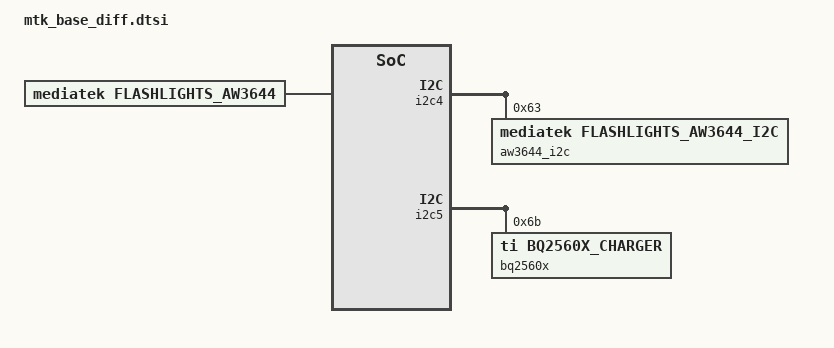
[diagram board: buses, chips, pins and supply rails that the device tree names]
/*
 * when you want to delete some nodes or property, modify this dtsi.
 * some diff between mtk and zte pluto.
 */

#include "../bat_setting/battery_protect_policy_080500100328.dtsi"

/{
	/*add for Z5157V flash chip node*/
	flashlights_aw3644: flashlights_aw3644 {
		compatible = "mediatek,flashlights_aw3644";
	};
	flashlights_dummy_gpio: flashlights_dummy_gpio {
		compatible = "mediatek,flashlights_dummy_gpio";
	};

	zte_misc: zte_misc {
		status="okay";
		compatible = "zte-misc";
	};

	/*fingerprint nav*/
	zte_fp_nav: zte_fp_nav {
		status="okay";
		compatible = "zte_fp_nav";
	};

	egistec_fp: fingerprint_egistec {
		compatible = "egis,egistec_pd";
	};
};

&charger_policy_service {
	policy,demo-max-capacity = <35>;
	policy,demo-min-capacity = <30>;
};


&i2c4 {
	aw3644_i2c: aw3644_i2c@63 {
		compatible = "mediatek,flashlights_aw3644_i2c";
		status = "okay";
		reg = <0x63>;
	};
};

&i2c5 {
	bq2560x: bq2560x@6b {
		compatible = "ti,bq2560x_charger";
		status = "okay";
		reg = <0x6b>;

		charger_name = "primary_chg";
		alias_name = "bq2560x";
	};
};

&lk_charger {
	/delete-property/ enable_pe_plus;
	/delete-property/ enable_anime;
};

&charger {
	/delete-property/ enable_pe_plus;
	/delete-property/ enable_pe_2;
	/delete-property/ enable_pe_3;
	/delete-property/ enable_pe_4;
	/delete-property/ enable_type_c;
};

/ {
	/delete-node/ mt6370_pmu_dts;
};

/ {
	/delete-node/ type_c_port0;
};

&i2c3 {
	/delete-node/ rt9465@4b;
};

/* chosen */
&chosen {
	bootargs = "console=tty0 console=ttyS0,921600n1 \
vmalloc=300M slub_max_order=0 slub_debug=OFZPU \
page_owner=on androidboot.hardware=mt6761 \
maxcpus=8 firmware_class.path=/vendor/firmware loop.max_part=7";
};
